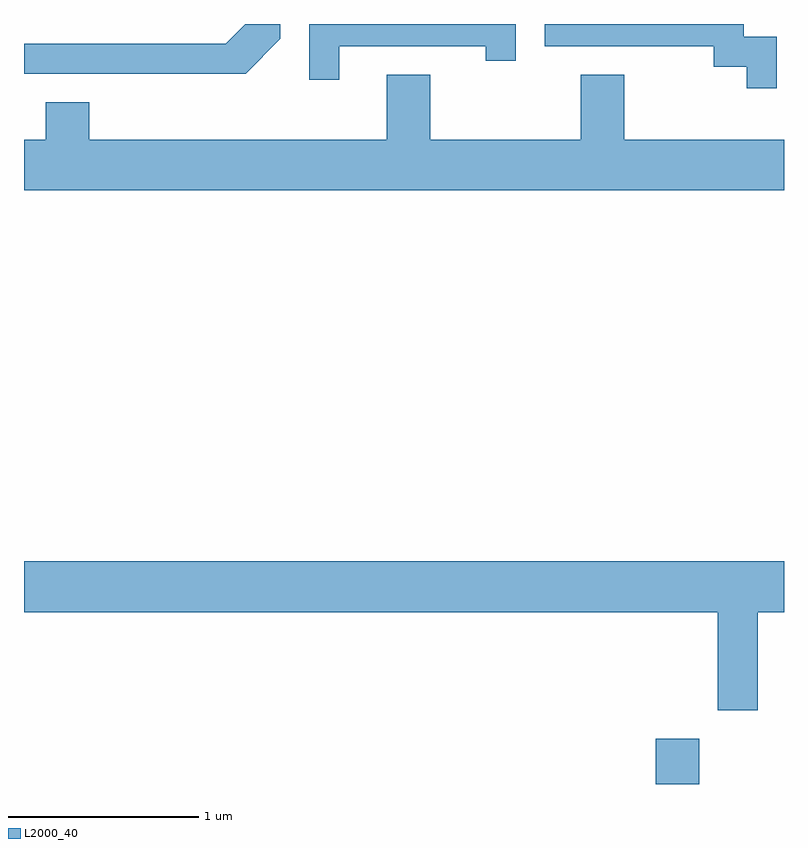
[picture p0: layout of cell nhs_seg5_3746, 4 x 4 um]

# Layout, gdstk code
import gdstk
lib = gdstk.Library(unit=1e-6, precision=1e-09)
def R(c, l, rs):  # rectangles x0, y0, x1, y1
    for r in rs: c.add(gdstk.rectangle(r[:2], r[2:], *l))
def P(c, l, *ps):  # polygons
    for p in ps: c.add(gdstk.Polygon(p, *l))
L2000_40 = (2000, 40)

nhs_seg5_3746 = lib.new_cell('nhs_seg5_3746')
R(nhs_seg5_3746, L2000_40, [(298.936,1498.072,299.164,1498.309)])
P(nhs_seg5_3746, L2000_40, [(297.269,1501.956),(298.041,1501.956),(298.041,1501.878),(298.199,1501.878),(298.199,1502.072),(297.111,1502.072),(297.111,1501.778),(297.269,1501.778)],
  [(299.574,1502.004),(299.399,1502.004),(299.399,1502.072),(298.351,1502.072),(298.351,1501.956),(299.241,1501.956),(299.241,1501.846),(299.416,1501.846),(299.416,1501.733),(299.574,1501.733)],
  [(296.959,1501.994),(296.959,1502.072),(296.776,1502.072),(296.674,1501.969),(295.611,1501.969),(295.611,1501.811),(296.777,1501.811)],
  [(299.611,1501.464),(298.769,1501.464),(298.769,1501.804),(298.541,1501.804),(298.541,1501.464),(297.749,1501.464),(297.749,1501.804),(297.521,1501.804),(297.521,1501.464),(295.954,1501.464),(295.954,1501.659),(295.726,1501.659),(295.726,1501.464),(295.611,1501.464),(295.611,1501.196),(299.611,1501.196)],
  [(295.611,1498.976),(299.261,1498.976),(299.261,1498.461),(299.474,1498.461),(299.474,1498.976),(299.611,1498.976),(299.611,1499.244),(295.611,1499.244)])

lib.write_gds('nhs_seg5_3746.gds')
